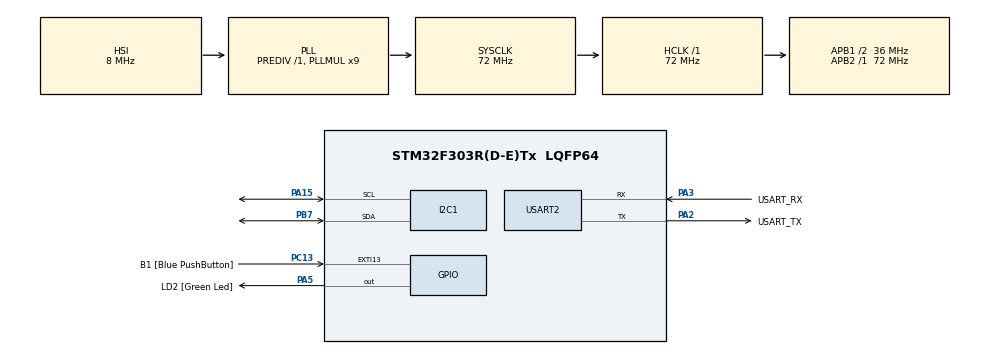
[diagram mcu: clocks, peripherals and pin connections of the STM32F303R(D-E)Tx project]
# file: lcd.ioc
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Mcu.Family=STM32F3
Mcu.Name=STM32F303R(D-E)Tx
Mcu.Package=LQFP64
NVIC.PriorityGroup=NVIC_PRIORITYGROUP_0
PA13.GPIO_Label=TMS
PA13.Mode=Serial_Wire
PA13.Signal=SYS_JTMS-SWDIO
PA14.GPIO_Label=TCK
PA14.Mode=Serial_Wire
PA14.Signal=SYS_JTCK-SWCLK
PA15.GPIO_PuPdOD=GPIO_NOPULL
PA15.Mode=I2C
PA15.Signal=I2C1_SCL
PA2.GPIO_Label=USART_TX
PA2.GPIO_Mode=GPIO_MODE_AF_PP
PA2.GPIO_PuPd=GPIO_NOPULL
PA2.GPIO_Speed=GPIO_SPEED_FREQ_LOW
PA2.Mode=Asynchronous
PA2.Signal=USART2_TX
PA3.GPIO_Label=USART_RX
PA3.GPIO_Mode=GPIO_MODE_AF_PP
PA3.GPIO_PuPd=GPIO_NOPULL
PA3.GPIO_Speed=GPIO_SPEED_FREQ_LOW
PA3.Mode=Asynchronous
PA3.Signal=USART2_RX
PA5.GPIO_Label=LD2 [Green Led]
PA5.GPIO_Mode=GPIO_MODE_OUTPUT_PP
PA5.GPIO_PuPd=GPIO_NOPULL
PA5.GPIO_Speed=GPIO_SPEED_FREQ_LOW
PA5.Signal=GPIO_Output
PB3.GPIO_Label=SWO
PB3.Signal=SYS_JTDO-TRACESWO
PB7.GPIO_PuPdOD=GPIO_NOPULL
PB7.Mode=I2C
PB7.Signal=I2C1_SDA
PC13.GPIO_Label=B1 [Blue PushButton]
PC13.GPIO_ModeDefaultEXTI=GPIO_MODE_IT_FALLING
PC13.Signal=GPXTI13
PC14-OSC32_IN.Mode=LSE-External-Oscillator
PC14-OSC32_IN.Signal=RCC_OSC32_IN
PC15-OSC32_OUT.Mode=LSE-External-Oscillator
PC15-OSC32_OUT.Signal=RCC_OSC32_OUT
PF0-OSC_IN.Mode=HSE-External-Clock-Source
PF0-OSC_IN.Signal=RCC_OSC_IN
PF1-OSC_OUT.Signal=RCC_OSC_OUT
ProjectManager.HeapSize=0x200
ProjectManager.StackSize=0x400
ProjectManager.TargetToolchain=STM32CubeIDE
RCC.AHBFreq_Value=72000000
RCC.APB1CLKDivider=RCC_HCLK_DIV2
RCC.APB1Freq_Value=36000000
RCC.APB1TimFreq_Value=72000000
RCC.APB2Freq_Value=72000000
RCC.APB2TimFreq_Value=72000000
RCC.CortexFreq_Value=72000000
RCC.HCLKFreq_Value=72000000
RCC.HSE_VALUE=8000000
RCC.HSI_VALUE=8000000
RCC.PLLM=8
RCC.PLLMUL=RCC_PLL_MUL9
RCC.PLLN=336
RCC.PLLP=RCC_PLLP_DIV4
RCC.PLLQ=7
RCC.RCC_PLLsource_Clock_Source_FROM_HSE=RCC_HSE_PREDIV_DIV2
RCC.SYSCLKFreq_VALUE=72000000
RCC.SYSCLKSourceVirtual=RCC_SYSCLKSOURCE_PLLCLK
RCC.USBFreq_Value=72000000
USART2.VirtualMode-Asynchronous=VM_ASYNC
board=NUCLEO-F303RE

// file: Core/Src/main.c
/* USER CODE BEGIN Header */
/**
  ******************************************************************************
  * @file           : main.c
  * @brief          : Main program body
  ******************************************************************************
  * @attention
  *
  * <h2><center>&copy; Copyright (c) 2020 STMicroelectronics.
  * All rights reserved.</center></h2>
  *
  * This software component is licensed by ST under BSD 3-Clause license,
  * the "License"; You may not use this file except in compliance with the
  * License. You may obtain a copy of the License at:
  *                        opensource.org/licenses/BSD-3-Clause
  *
  ******************************************************************************
  */
/* USER CODE END Header */

#include "main.h"
#include "i2c.h"
#include "usart.h"
#include "gpio.h"

/* USER CODE BEGIN Includes */
#include "lcd_i2c.h"
#include <stdbool.h>
#include <stdio.h>
/* USER CODE END Includes */

/* USER CODE BEGIN PV */
struct lcd_disp disp;
/* USER CODE END PV */

void SystemClock_Config(void);

int main(void)
{

  /* MCU Configuration--------------------------------------------------------*/

  /* Reset of all peripherals, Initializes the Flash interface and the Systick. */
  HAL_Init();

  /* Configure the system clock */
  SystemClock_Config();

  /* Initialize all configured peripherals */
  MX_GPIO_Init();
  MX_USART2_UART_Init();
  MX_I2C1_Init();
  /* USER CODE BEGIN 2 */
  disp.addr = (0x27 << 1);
  disp.bl = true;
  lcd_init(&disp);
  sprintf((char *)disp.f_line, "To 1. linia");
  sprintf((char *)disp.s_line, "a to druga linia");
  lcd_display(&disp);
  /* USER CODE END 2 */

  /* Infinite loop */
  /* USER CODE BEGIN WHILE */
  while (1)
  {
	  sprintf((char *)disp.f_line, "     ******");
	  sprintf((char *)disp.s_line, "");
	  HAL_Delay(500);
	  lcd_display(&disp);

	  sprintf((char *)disp.f_line, "");
	  sprintf((char *)disp.s_line, "     ******");
	  HAL_Delay(500);
	  lcd_display(&disp);
    /* USER CODE END WHILE */

  }
}

void SystemClock_Config(void)
{
  RCC_OscInitTypeDef RCC_OscInitStruct = {0};
  RCC_ClkInitTypeDef RCC_ClkInitStruct = {0};
  RCC_PeriphCLKInitTypeDef PeriphClkInit = {0};

  /** Initializes the CPU, AHB and APB busses clocks
  */
  RCC_OscInitStruct.OscillatorType = RCC_OSCILLATORTYPE_HSI;
  RCC_OscInitStruct.HSIState = RCC_HSI_ON;
  RCC_OscInitStruct.HSICalibrationValue = RCC_HSICALIBRATION_DEFAULT;
  RCC_OscInitStruct.PLL.PLLState = RCC_PLL_ON;
  RCC_OscInitStruct.PLL.PLLSource = RCC_PLLSOURCE_HSI;
  RCC_OscInitStruct.PLL.PLLMUL = RCC_PLL_MUL9;
  RCC_OscInitStruct.PLL.PREDIV = RCC_PREDIV_DIV1;
  if (HAL_RCC_OscConfig(&RCC_OscInitStruct) != HAL_OK)
  {
    Error_Handler();
  }
  /** Initializes the CPU, AHB and APB busses clocks
  */
  RCC_ClkInitStruct.ClockType = RCC_CLOCKTYPE_HCLK|RCC_CLOCKTYPE_SYSCLK
                              |RCC_CLOCKTYPE_PCLK1|RCC_CLOCKTYPE_PCLK2;
  RCC_ClkInitStruct.SYSCLKSource = RCC_SYSCLKSOURCE_PLLCLK;
  RCC_ClkInitStruct.AHBCLKDivider = RCC_SYSCLK_DIV1;
  RCC_ClkInitStruct.APB1CLKDivider = RCC_HCLK_DIV2;
  RCC_ClkInitStruct.APB2CLKDivider = RCC_HCLK_DIV1;

  if (HAL_RCC_ClockConfig(&RCC_ClkInitStruct, FLASH_LATENCY_2) != HAL_OK)
  {
    Error_Handler();
  }
  PeriphClkInit.PeriphClockSelection = RCC_PERIPHCLK_USART2|RCC_PERIPHCLK_I2C1;
  PeriphClkInit.Usart2ClockSelection = RCC_USART2CLKSOURCE_PCLK1;
  PeriphClkInit.I2c1ClockSelection = RCC_I2C1CLKSOURCE_HSI;
  if (HAL_RCCEx_PeriphCLKConfig(&PeriphClkInit) != HAL_OK)
  {
    Error_Handler();
  }
}

void Error_Handler(void)
{
}

/************************ (C) COPYRIGHT STMicroelectronics *****END OF FILE****/
